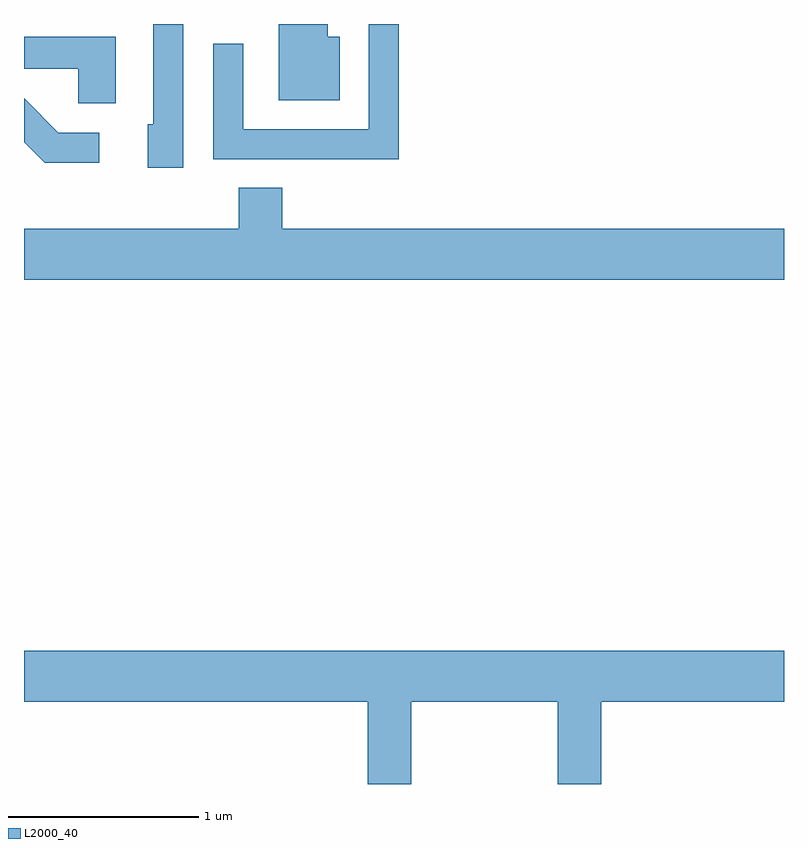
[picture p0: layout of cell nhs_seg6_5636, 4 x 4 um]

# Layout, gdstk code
import gdstk
lib = gdstk.Library(unit=1e-6, precision=1e-09)
def P(c, l, *ps):  # polygons
    for p in ps: c.add(gdstk.Polygon(p, *l))
L2000_40 = (2000, 40)

nhs_seg6_5636 = lib.new_cell('nhs_seg6_5636')
P(nhs_seg6_5636, L2000_40, [(357.584,1660.162),(357.426,1660.162),(357.426,1659.609),(356.764,1659.609),(356.764,1660.058),(356.606,1660.058),(356.606,1659.451),(357.584,1659.451)],
  [(356.449,1660.162),(356.291,1660.162),(356.291,1659.634),(356.261,1659.634),(356.261,1659.406),(356.449,1659.406)],
  [(357.274,1660.094),(357.209,1660.094),(357.209,1660.162),(356.951,1660.162),(356.951,1659.761),(357.274,1659.761)],
  [(356.094,1660.094),(355.611,1660.094),(355.611,1659.926),(355.896,1659.926),(355.896,1659.746),(356.094,1659.746)],
  [(356.008,1659.589),(355.792,1659.589),(355.611,1659.77),(355.611,1659.539),(355.719,1659.431),(356.008,1659.431)],
  [(359.611,1659.084),(356.969,1659.084),(356.969,1659.299),(356.741,1659.299),(356.741,1659.084),(355.611,1659.084),(355.611,1658.816),(359.611,1658.816)],
  [(357.649,1656.596),(358.421,1656.596),(358.421,1656.162),(358.649,1656.162),(358.649,1656.596),(359.611,1656.596),(359.611,1656.864),(355.611,1656.864),(355.611,1656.596),(357.421,1656.596),(357.421,1656.162),(357.649,1656.162)])

lib.write_gds('nhs_seg6_5636.gds')
